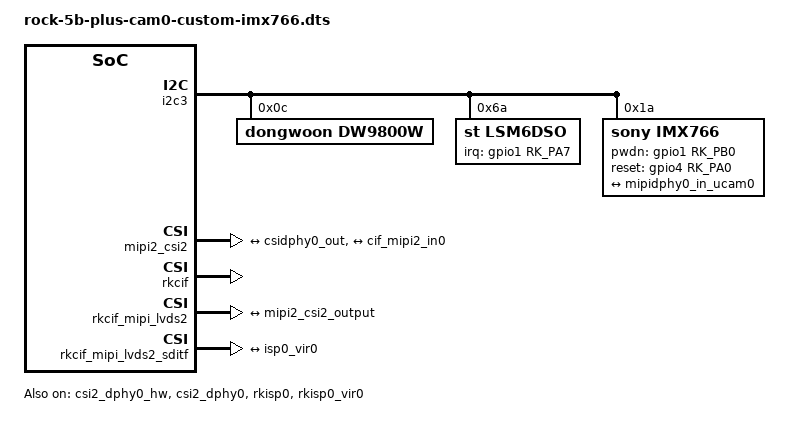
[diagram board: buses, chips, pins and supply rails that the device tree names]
/dts-v1/;
/plugin/;

#include <dt-bindings/clock/rk3588-cru.h>
#include <dt-bindings/power/rk3588-power.h>
#include <dt-bindings/gpio/gpio.h>
#include <dt-bindings/pinctrl/rockchip.h>
#include <dt-bindings/interrupt-controller/irq.h>
#include <dt-bindings/sensor-dev.h>


/ {
	metadata {
		title ="Enable Custom IMX766 on CAM0";
		compatible = "radxa,rock-5b-plus";
		category = "camera";
		exclusive = "csi2_dphy0";
		description = "Enable Custom IMX766 on CAM0.";
	};
};

&i2c3 {
	status = "okay";
	#address-cells = <1>;
	#size-cells = <0>;

	dw9800w: dw9800w@0c {
		status = "okay";
		compatible = "dongwoon,dw9800w";
		reg = <0x0c>;

		rockchip,camera-module-index = <0>;
		rockchip,camera-module-facing = "front";

		rockchip,vcm-max-current = <1023>;
		rockchip,vcm-start-current = <200>;
		rockchip,vcm-rated-current = <1020>;
		rockchip,vcm-step-mode = <6>;
		rockchip,vcm-t-src = <16>;
		rockchip,vcm-t-div = <1>;
	};

	lsm6dso: imu@6a {
		status = "okay";
		compatible = "st,lsm6dso";
		reg = <0x6a>;

		interrupt-parent = <&gpio1>;
		interrupts = <RK_PA7 IRQ_TYPE_EDGE_RISING>;
	};

	// icm42607_acc: icm_acc@68 {
	// 	status = "okay";
	// 	compatible = "icm42607_acc";
	// 	reg = <0x68>;
	// 	irq-gpio = <&gpio1 RK_PA7 IRQ_TYPE_EDGE_RISING>;
	// 	irq_enable = <0>;
	// 	poll_delay_ms = <30>;
	// 	type = <SENSOR_TYPE_ACCEL>;
	// 	layout = <0>;
	// };

	// icm42607_gyro: icm_gyro@68 {
	// 	status = "okay";
	// 	compatible = "icm42607_gyro";
	// 	reg = <0x68>;
	// 	poll_delay_ms = <30>;
	// 	type = <SENSOR_TYPE_GYROSCOPE>;
	// 	layout = <0>;
	// };


	imx766: imx766@1a {
		status = "okay";
		compatible = "sony,imx766";
		reg = <0x1a>;
		clocks = <&cru CLK_MIPI_CAMARAOUT_M3>;
		clock-names = "xvclk";
		pinctrl-names = "default";
		pinctrl-0 = <&mipim0_camera3_clk>;
		power-domains = <&power RK3588_PD_VI>;
		pwdn-gpios = <&gpio1 RK_PB0 GPIO_ACTIVE_HIGH>;
		reset-gpios = <&gpio4 RK_PA0 GPIO_ACTIVE_HIGH>;
		rockchip,camera-module-index = <0>;
		rockchip,camera-module-facing = "front";
		rockchip,camera-module-name = "CUSTOM-IMX766";
		rockchip,camera-module-lens-name = "DEFAULT";
		lens-focus = <&dw9800w>;

		port {
			imx766_out0: endpoint {
				remote-endpoint = <&mipidphy0_in_ucam0>;
				data-lanes = <1 2 3 4>;
			};
		};
	};
};

&csi2_dphy0_hw {
	status = "okay";
};

&csi2_dphy0 {
	status = "okay";

	ports {
		#address-cells = <1>;
		#size-cells = <0>;

		port@0 {
			reg = <0>;
			#address-cells = <1>;
			#size-cells = <0>;

			mipidphy0_in_ucam0: endpoint@1 {
				reg = <1>;
				remote-endpoint = <&imx766_out0>;
				data-lanes = <1 2 3 4>;
			};
		};

		port@1 {
			reg = <1>;
			#address-cells = <1>;
			#size-cells = <0>;

			csidphy0_out: endpoint@0 {
				reg = <0>;
				remote-endpoint = <&mipi2_csi2_input>;
			};
		};
	};
};

&mipi2_csi2 {
	status = "okay";

	ports {
		#address-cells = <1>;
		#size-cells = <0>;

		port@0 {
			reg = <0>;
			#address-cells = <1>;
			#size-cells = <0>;

			mipi2_csi2_input: endpoint@1 {
				reg = <1>;
				remote-endpoint = <&csidphy0_out>;
			};
		};

		port@1 {
			reg = <1>;
			#address-cells = <1>;
			#size-cells = <0>;

			mipi2_csi2_output: endpoint@0 {
				reg = <0>;
				remote-endpoint = <&cif_mipi2_in0>;
			};
		};
	};
};

&rkcif {
	status = "okay";
};

&rkcif_mipi_lvds2 {
	status = "okay";

	port {
		cif_mipi2_in0: endpoint {
			remote-endpoint = <&mipi2_csi2_output>;
		};
	};
};

&rkcif_mipi_lvds2_sditf {
	status = "okay";

	port {
		mipi_lvds2_sditf: endpoint {
			remote-endpoint = <&isp0_vir0>;
		};
	};
};

&rkcif_mmu {
	status = "okay";
};

&isp0_mmu {
	status = "okay";
};

&rkisp0 {
	status = "okay";
};

&rkisp0_vir0 {
	status = "okay";

	port {
		#address-cells = <1>;
		#size-cells = <0>;

		isp0_vir0: endpoint@0 {
			reg = <0>;
			remote-endpoint = <&mipi_lvds2_sditf>;
		};
	};
};
